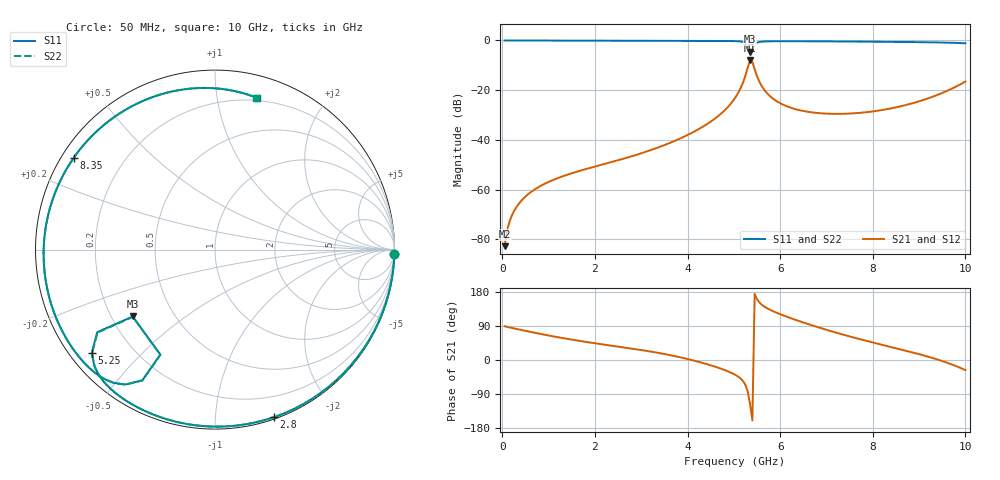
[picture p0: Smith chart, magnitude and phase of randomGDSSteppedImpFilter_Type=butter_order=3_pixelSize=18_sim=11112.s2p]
! freq	dB(S11)	phase(S11)	dB(S12)	phase(S12)
!  dB(S21)	phase(S21)	dB(S22)	phase(S22)
!S-par simulation data
#  GHz  S  DB  R 50
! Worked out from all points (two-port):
!   200 points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, 50 MHz to 10 GHz, reference 50 ohm
!   highest |S21| = -7.98 dB at 5.35 GHz (marker M1); lowest = -82.7 dB at 50 MHz (marker M2)
!   |S21| within 3 dB of the highest: 5.299 GHz to 5.439 GHz (140.8 MHz wide, 2.62 % of centre)
!   lowest |S11| = -4.6 dB at 5.35 GHz (marker M3), VSWR 3.89, Z = 14.4 - j16.5 ohm
!   |S11| at or under -10 dB: nowhere
!   |S22| runs from -4.6 to 0.0 dB; largest |S21 - S12| = 0
!   S11 on the Smith chart (normalised r, x): 50 MHz: 1, -89; 2.8 GHz: 0.02, -1.41; 5.25 GHz: 0.06, -0.36; 8.35 GHz: 0.03, +0.30; 10 GHz: 0.18, +1.30
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0.05  -0.00 -1.3  -82.73 89.2  -82.73 89.2  -0.00 -1.3
0.15  -0.01 -3.9  -73.18 86.2  -73.18 86.2  -0.01 -3.9
0.25  -0.01 -6.5  -68.75 83.4  -68.75 83.4  -0.01 -6.5
0.5  -0.02 -13.0  -62.78 76.9  -62.78 76.9  -0.02 -13.0
1  -0.03 -25.8  -56.89 64.6  -56.89 64.6  -0.03 -25.8
1.75  -0.06 -44.8  -52.01 48.8  -52.01 48.8  -0.06 -44.8
2.8  -0.09 -70.8  -46.55 30.0  -46.55 30.0  -0.09 -70.7
3.4  -0.11 -85.3  -42.79 18.1  -42.79 18.1  -0.11 -85.2
4.45  -0.17 -111.0  -33.29 -12.1  -33.29 -12.1  -0.17 -110.9
5.05  -0.30 -128.4  -22.44 -40.5  -22.44 -40.5  -0.29 -128.2
5.25  -0.94 -139.9  -14.15 -65.8  -14.15 -65.8  -0.93 -139.8
5.3  -1.93 -145.0  -10.88 -83.1  -10.88 -83.1  -1.92 -144.8
5.35  -4.57 -140.9  -7.98 -116.5  -7.98 -116.5  -4.55 -140.7
5.4  -3.62 -117.5  -8.62 -159.2  -8.62 -159.2  -3.60 -117.4
5.5  -0.89 -123.6  -14.36 160.6  -14.36 160.6  -0.89 -123.5
5.65  -0.41 -132.2  -19.66 141.7  -19.66 141.7  -0.41 -132.1
5.9  -0.31 -140.8  -24.12 125.9  -24.12 125.9  -0.31 -140.7
6.7  -0.34 -162.9  -28.96 91.0  -28.96 91.0  -0.34 -162.8
7.55  -0.43 172.8  -29.35 60.5  -29.35 60.5  -0.43 173.0
8.35  -0.55 147.0  -27.48 35.7  -27.48 35.7  -0.55 147.2
9.3  -0.76 109.8  -22.58 5.0  -22.58 5.0  -0.76 110.1
10  -1.14 74.6  -16.53 -26.8  -16.53 -26.8  -1.14 74.9
